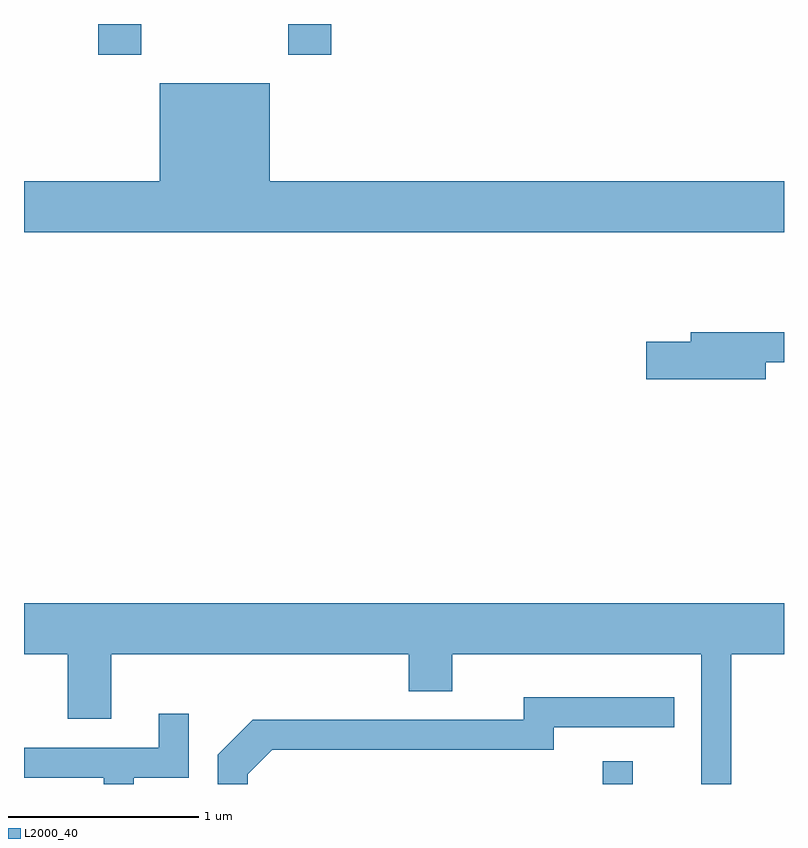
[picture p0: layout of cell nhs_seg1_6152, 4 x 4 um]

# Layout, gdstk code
import gdstk
lib = gdstk.Library(unit=1e-6, precision=1e-09)
def R(c, l, rs):  # rectangles x0, y0, x1, y1
    for r in rs: c.add(gdstk.rectangle(r[:2], r[2:], *l))
def P(c, l, *ps):  # polygons
    for p in ps: c.add(gdstk.Polygon(p, *l))
L2000_40 = (2000, 40)

nhs_seg1_6152 = lib.new_cell('nhs_seg1_6152')
R(nhs_seg1_6152, L2000_40, [(372.656,967.712,372.814,967.833), (370.001,971.551,370.229,971.712), (371.001,971.551,371.229,971.712)])
P(nhs_seg1_6152, L2000_40, [(373.611,970.884),(370.904,970.884),(370.904,971.399),(370.326,971.399),(370.326,970.884),(369.611,970.884),(369.611,970.616),(373.611,970.616)],
  [(373.514,969.931),(373.611,969.931),(373.611,970.089),(373.121,970.089),(373.121,970.039),(372.886,970.039),(372.886,969.841),(373.514,969.841)],
  [(373.334,968.396),(373.611,968.396),(373.611,968.664),(369.611,968.664),(369.611,968.396),(369.841,968.396),(369.841,968.056),(370.069,968.056),(370.069,968.396),(371.636,968.396),(371.636,968.201),(371.864,968.201),(371.864,968.396),(373.176,968.396),(373.176,967.712),(373.334,967.712)],
  [(370.789,967.764),(370.917,967.891),(372.399,967.891),(372.399,968.011),(373.033,968.011),(373.033,968.169),(372.241,968.169),(372.241,968.049),(370.814,968.049),(370.631,967.867),(370.631,967.712),(370.789,967.712)],
  [(370.189,967.746),(370.479,967.746),(370.479,968.083),(370.321,968.083),(370.321,967.904),(369.611,967.904),(369.611,967.746),(370.031,967.746),(370.031,967.712),(370.189,967.712)])

lib.write_gds('nhs_seg1_6152.gds')
